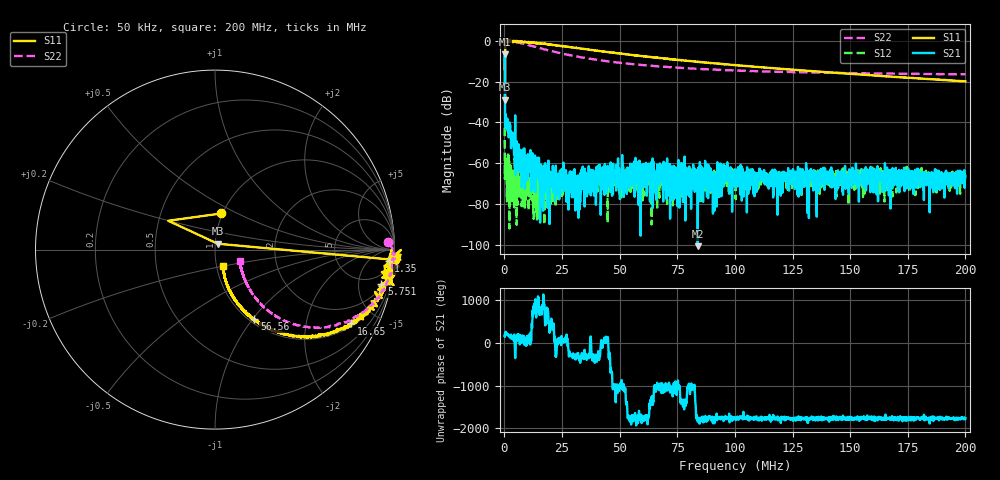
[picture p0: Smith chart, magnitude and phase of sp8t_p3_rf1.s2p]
! 26-Feb-26 11:40:02 AM
! E:\VNA_MEASUREMENTS\SP8T\SP8T_P3_RF1.S2P
! CHANNEL.1
! TR.MEASUREMENT
! CORRECTED.DATA
# GHZ S RI R 50.0
! FREQ.GHZ  S11RE  S11IM  S21RE  S21IM  S12RE  S12IM  S22RE  S22IM
!; PortSelection: Port_12
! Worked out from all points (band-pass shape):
!   2000 points, 50 kHz to 200 MHz, reference 50 ohm
!   highest |S21| = -6.49 dB at 150 kHz (marker M1); lowest = -100.8 dB at 83.87 MHz (marker M2)
!   |S21| within 3 dB of the highest: 64.37 kHz to 158.5 kHz (94.12 kHz wide, 84.5 % of centre)
!   lowest |S11| = -28.8 dB at 250 kHz (marker M3), VSWR 1.08, Z = 51.5 + j3.36 ohm
!   |S11| at or under -10 dB: start of sweep to 315.9 kHz; 81.87031 MHz to 81.87089 MHz (586 Hz wide, 0.000716 % of centre); 82.03 MHz to end of sweep
!   |S22| runs from -16.4 to 0.0 dB; largest |S21 - S12| = 0.47
!   S11 on the Smith chart (normalised r, x): 50 kHz: 0.99, +0.42; 1.35 MHz: 12, -25; 5.751 MHz: 2.46, -9.11; 16.65 MHz: 1.12, -3.62; 56.56 MHz: 1.06, -1.02; 200 MHz: 1.08, -0.20
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5e-05  0.0358 0.2015  -0.3152 0.0295  0.00645 -0.00391  0.9634 0.041
0.000150025  -0.261 0.1607  -0.3653 0.3017  -0.000383 0.000161  0.9956 -0.00232
0.00025005  0.0156 0.0326  -0.00673 -0.00427  -0.000352 0.00046  1.001 -0.02
0.001350325  0.9673 -0.0644  -0.0118 -0.00294  0.00103 -2.81e-05  0.9901 -0.0902
0.005751426  0.9271 -0.1918  -0.000778 0.000369  6.24e-05 0.000215  0.8682 -0.3093
0.01395348  0.7959 -0.3674  -0.000403 9.86e-05  -0.000257 -6.07e-05  0.5577 -0.4367
0.01665415  0.7586 -0.4113  -0.000252 0.000212  -4.96e-05 0.000329  0.4793 -0.4269
0.0236559  0.6042 -0.4714  -0.000149 0.000356  0.000345 0.000164  0.3494 -0.3759
0.02585645  0.5678 -0.4822  0.000171 0.000133  0.000239 0.000338  0.3209 -0.358
0.0316579  0.4635 -0.4831  0.000279 0.000197  0.00029 0.000132  0.2681 -0.3167
0.03345835  0.4405 -0.4822  0.000556 0.000417  0.00034 0.000191  0.2569 -0.3037
0.04696173  0.286 -0.4328  0.000391 0.000226  0.000257 0.00034  0.2009 -0.2335
0.05266316  0.2459 -0.4096  1e-05 0.000373  0.000361 0.000308  0.1879 -0.2118
0.05656413  0.2196 -0.3873  -8.55e-05 0.000218  0.000198 0.000232  0.1809 -0.1987
0.05916478  0.2082 -0.3781  0.000428 0.000111  0.000447 -1.46e-05  0.1768 -0.191
0.06156538  0.1906 -0.3676  3.14e-05 0.000437  0.000323 0.000253  0.1735 -0.1833
0.06676668  0.1672 -0.3505  0.00036 0.000106  0.000362 0.000614  0.1681 -0.1709
0.08387096  0.1163 -0.2856  6.1e-06 -6.8e-06  0.00038 -4.3e-06  0.1546 -0.138
0.100075  0.0871 -0.2424  0.000324 4.92e-05  0.000251 0.000223  0.149 -0.118
0.1333833  0.0591 -0.1721  0.000282 0.000274  0.000301 0.000101  0.1429 -0.0905
0.1666917  0.049 -0.126  0.000471 0.00023  0.000375 0.000122  0.1405 -0.0747
0.2  0.0463 -0.0913  0.000394 0.000243  0.000435 0.0003  0.1383 -0.0633
